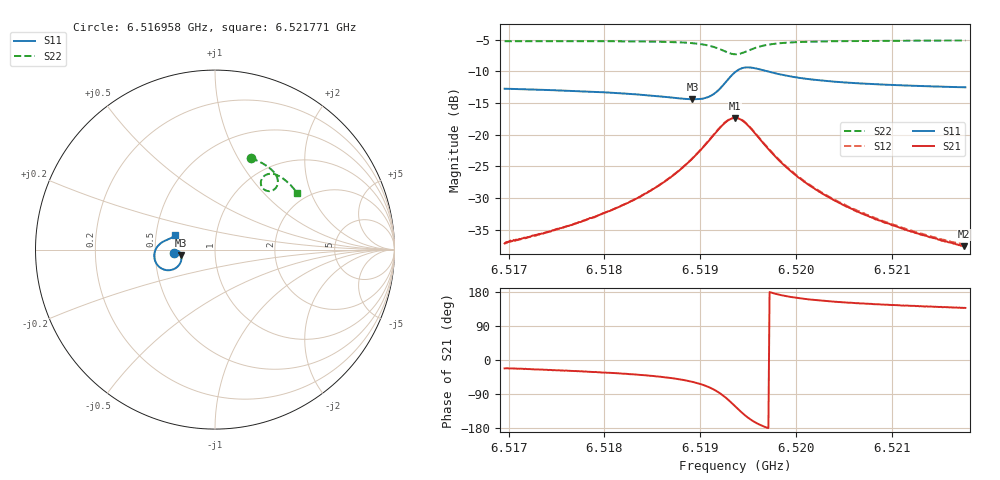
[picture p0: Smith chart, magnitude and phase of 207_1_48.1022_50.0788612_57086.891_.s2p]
#  HZ  S  RI  R  50.00
! Rohde & Schwarz Vector Network Analyzer
! Rohde-Schwarz,ZNB20-2Port,1311601062101988,3.16
! Created: UTC 12/23/2023, 3:55:22 AM
! freq[Hz]  re:S11  im:S11  re:S21  im:S21  re:S12  im:S12  re:S22  im:S22
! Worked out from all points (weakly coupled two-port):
!   401 points, 6.516958 GHz to 6.521771 GHz, reference 50 ohm
!   highest |S21| = -17.35 dB at 6.519365 GHz (marker M1); lowest = -37.6 dB at 6.521759 GHz (marker M2)
!   lowest |S11| = -14.4 dB at 6.518919 GHz (marker M3), VSWR 1.47, Z = 34.1 - j2.27 ohm
!   |S11| at or under -10 dB: start of sweep to 6.519374 GHz; 6.519708 GHz to end of sweep
!   |S22| runs from -7.3 to -5.1 dB; largest |S21 - S12| = 0.0043
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6.5169582e9  -0.2305 -0.018  0.0128 -0.00522  0.0131 -0.00476  0.2003 0.5104
6.5174154e9  -0.2254 -0.0112  0.0153 -0.00764  0.0156 -0.00701  0.2339 0.4962
6.5177643e9  -0.2204 -0.00727  0.018 -0.0103  0.0181 -0.00989  0.2599 0.4832
6.5182215e9  -0.2115 -0.00514  0.0229 -0.0169  0.0234 -0.0162  0.2941 0.4617
6.5185704e9  -0.2012 -0.00935  0.0286 -0.0275  0.0297 -0.0267  0.321 0.4391
6.5187509e9  -0.1943 -0.017  0.0324 -0.0381  0.0337 -0.0372  0.3351 0.4226
6.5189194e9  -0.188 -0.032  0.0347 -0.0548  0.0365 -0.054  0.3465 0.4006
6.5190397e9  -0.187 -0.052  0.0323 -0.0742  0.0347 -0.0738  0.3504 0.3784
6.5191359e9  -0.1941 -0.0756  0.0221 -0.0959  0.0251 -0.096  0.3459 0.3556
6.5192683e9  -0.2359 -0.1112  -0.0206 -0.1242  -0.0172 -0.1256  0.3137 0.3272
6.5193645e9  -0.2927 -0.1078  -0.0715 -0.1154  -0.0685 -0.1184  0.2747 0.3342
6.5194247e9  -0.3222 -0.084  -0.0952 -0.0914  -0.0932 -0.0948  0.2586 0.3546
6.5194849e9  -0.3367 -0.0524  -0.1045 -0.0624  -0.1036 -0.0659  0.2556 0.3781
6.5196894e9  -0.3184 0.0202  -0.0808 -0.00315  -0.0814 -0.00564  0.2922 0.4198
6.51993e9  -0.2866 0.0456  -0.0517 0.0118  -0.0526 0.0104  0.3327 0.4198
6.5201707e9  -0.2677 0.0544  -0.036 0.0138  -0.0368 0.0129  0.3599 0.4088
6.5203752e9  -0.2573 0.0587  -0.0281 0.0134  -0.0289 0.0128  0.3777 0.3973
6.5206279e9  -0.248 0.0627  -0.0216 0.0124  -0.0225 0.0121  0.3963 0.3829
6.5209768e9  -0.2387 0.0677  -0.0163 0.0113  -0.0169 0.0108  0.4183 0.362
6.5213257e9  -0.2315 0.0726  -0.0126 0.01  -0.0132 0.00989  0.4376 0.341
6.5217589e9  -0.2239 0.0785  -0.00974 0.00889  -0.0102 0.00881  0.4588 0.3142
6.5217709e9  -0.2237 0.0787  -0.0097 0.00893  -0.0102 0.00879  0.4595 0.3134
